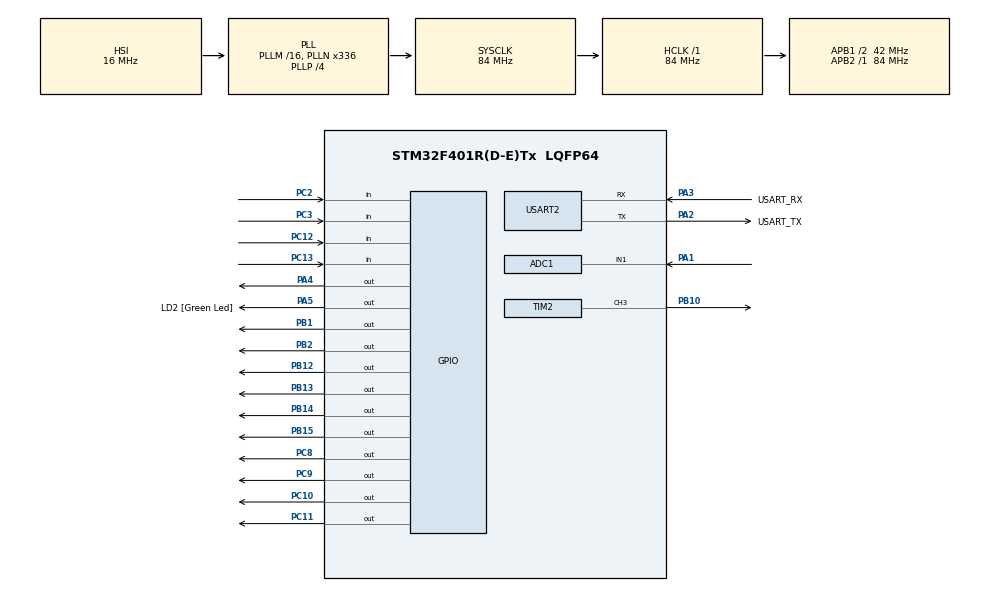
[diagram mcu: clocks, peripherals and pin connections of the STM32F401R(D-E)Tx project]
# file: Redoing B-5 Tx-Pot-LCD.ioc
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ADC1.Channel-0\#ChannelRegularConversion=ADC_CHANNEL_1
ADC1.ContinuousConvMode=DISABLE
ADC1.DMAContinuousRequests=DISABLE
ADC1.ExternalTrigConv=ADC_EXTERNALTRIGCONV_T3_TRGO
ADC1.NbrOfConversionFlag=1
ADC1.Rank-0\#ChannelRegularConversion=1
ADC1.SamplingTime-0\#ChannelRegularConversion=ADC_SAMPLETIME_480CYCLES
ADC1.master=1
Dma.ADC1.0.Direction=DMA_PERIPH_TO_MEMORY
Dma.ADC1.0.FIFOMode=DMA_FIFOMODE_DISABLE
Dma.ADC1.0.Instance=DMA2_Stream0
Dma.ADC1.0.MemDataAlignment=DMA_MDATAALIGN_HALFWORD
Dma.ADC1.0.MemInc=DMA_MINC_ENABLE
Dma.ADC1.0.Mode=DMA_NORMAL
Dma.ADC1.0.PeriphDataAlignment=DMA_PDATAALIGN_HALFWORD
Dma.ADC1.0.PeriphInc=DMA_PINC_DISABLE
Dma.ADC1.0.Priority=DMA_PRIORITY_LOW
Dma.Request0=ADC1
Mcu.Family=STM32F4
Mcu.Name=STM32F401R(D-E)Tx
Mcu.Package=LQFP64
NVIC.ADC_IRQn=true\:0\:0\:false\:false\:true\:true\:true\:true
NVIC.DMA2_Stream0_IRQn=true\:0\:0\:false\:false\:true\:false\:true\:true
NVIC.PriorityGroup=NVIC_PRIORITYGROUP_0
NVIC.TIM1_UP_TIM10_IRQn=true\:0\:0\:false\:false\:true\:true\:true\:true
NVIC.TIM2_IRQn=true\:0\:0\:false\:false\:true\:true\:true\:true
NVIC.TIM3_IRQn=true\:0\:0\:false\:false\:true\:true\:true\:true
PA1.Signal=ADCx_IN1
PA13.GPIO_Label=TMS
PA13.Mode=Serial_Wire
PA13.Signal=SYS_JTMS-SWDIO
PA14.GPIO_Label=TCK
PA14.Mode=Serial_Wire
PA14.Signal=SYS_JTCK-SWCLK
PA2.GPIO_Label=USART_TX
PA2.GPIO_Mode=GPIO_MODE_AF_PP
PA2.GPIO_PuPd=GPIO_NOPULL
PA2.GPIO_Speed=GPIO_SPEED_FREQ_LOW
PA2.Mode=Asynchronous
PA2.Signal=USART2_TX
PA3.GPIO_Label=USART_RX
PA3.GPIO_Mode=GPIO_MODE_AF_PP
PA3.GPIO_PuPd=GPIO_NOPULL
PA3.GPIO_Speed=GPIO_SPEED_FREQ_LOW
PA3.Mode=Asynchronous
PA3.Signal=USART2_RX
PA4.Signal=GPIO_Output
PA5.GPIO_Label=LD2 [Green Led]
PA5.GPIO_Mode=GPIO_MODE_OUTPUT_PP
PA5.GPIO_PuPd=GPIO_NOPULL
PA5.GPIO_Speed=GPIO_SPEED_FREQ_LOW
PA5.Signal=GPIO_Output
PB1.Signal=GPIO_Output
PB10.Signal=S_TIM2_CH3
PB12.Signal=GPIO_Output
PB13.Signal=GPIO_Output
PB14.Signal=GPIO_Output
PB15.Signal=GPIO_Output
PB2.Signal=GPIO_Output
PB3.GPIO_Label=SWO
PB3.Signal=SYS_JTDO-SWO
PC10.Signal=GPIO_Output
PC11.Signal=GPIO_Output
PC12.Signal=GPIO_Input
PC13-ANTI_TAMP.Signal=GPIO_Input
PC14-OSC32_IN.Mode=LSE-External-Oscillator
PC14-OSC32_IN.Signal=RCC_OSC32_IN
PC15-OSC32_OUT.Mode=LSE-External-Oscillator
PC15-OSC32_OUT.Signal=RCC_OSC32_OUT
PC2.Signal=GPIO_Input
PC3.Signal=GPIO_Input
PC8.Signal=GPIO_Output
PC9.Signal=GPIO_Output
PH0\ -\ OSC_IN.Mode=HSE-External-Clock-Source
PH0\ -\ OSC_IN.Signal=RCC_OSC_IN
PH1\ -\ OSC_OUT.Mode=HSE-External-Clock-Source
PH1\ -\ OSC_OUT.Signal=RCC_OSC_OUT
ProjectManager.HeapSize=0x200
ProjectManager.StackSize=0x400
ProjectManager.TargetToolchain=STM32CubeIDE
RCC.48MHZClocksFreq_Value=48000000
RCC.AHBFreq_Value=84000000
RCC.APB1CLKDivider=RCC_HCLK_DIV2
RCC.APB1Freq_Value=42000000
RCC.APB1TimFreq_Value=84000000
RCC.APB2Freq_Value=84000000
RCC.APB2TimFreq_Value=84000000
RCC.CortexFreq_Value=84000000
RCC.HCLKFreq_Value=84000000
RCC.HSE_VALUE=8000000
RCC.HSI_VALUE=16000000
RCC.PLLN=336
RCC.PLLP=RCC_PLLP_DIV4
RCC.PLLQ=7
RCC.SYSCLKFreq_VALUE=84000000
RCC.SYSCLKSource=RCC_SYSCLKSOURCE_PLLCLK
RCC.VCOOutputFreq_Value=336000000
SH.ADCx_IN1.0=ADC1_IN1,IN1
SH.S_TIM2_CH3.0=TIM2_CH3,PWM Generation3 CH3
TIM1.Period=499
TIM1.Prescaler=69
TIM2.Channel-PWM\ Generation3\ CH3=TIM_CHANNEL_3
TIM2.Period=60
TIM2.Prescaler=35
TIM2.Pulse-PWM\ Generation3\ CH3=30
TIM3.Period=10000-1
TIM3.Prescaler=8400-1
TIM3.TIM_MasterOutputTrigger=TIM_TRGO_UPDATE
USART2.VirtualMode=VM_ASYNC
VP_TIM1_VS_ClockSourceINT.Mode=Internal
VP_TIM2_VS_ClockSourceINT.Mode=Internal
VP_TIM3_VS_ClockSourceINT.Mode=Internal
board=NUCLEO-F401RE

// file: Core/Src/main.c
/* USER CODE BEGIN Header */
/**
 ******************************************************************************
 * @file           : main.c
 * @brief          : Main program body
 ******************************************************************************
 * @attention
 *
 * Copyright (c) 2023 STMicroelectronics.
 * All rights reserved.
 *
 * This software is licensed under terms that can be found in the LICENSE file
 * in the root directory of this software component.
 * If no LICENSE file comes with this software, it is provided AS-IS.
 *
 ******************************************************************************
 */
/* USER CODE END Header */
#include "main.h"

/* USER CODE BEGIN Includes */
#include <stdio.h>
#include <math.h>
#include "PMDB16_LCD.h"
/* USER CODE END Includes */

/* USER CODE BEGIN PD */

char aux_str[1024];
#define PRINT(s,...) \
		snprintf(aux_str, 1020, s, ##__VA_ARGS__ ); \
		HAL_UART_Transmit(&huart2, (uint8_t*)aux_str, strlen(aux_str), 100);

#define QUEUE_SIZE 100
#define N_ROWS_K 4
#define N_COLS_K 4
/* USER CODE END PD */

ADC_HandleTypeDef hadc1;
DMA_HandleTypeDef hdma_adc1;

TIM_HandleTypeDef htim1;
TIM_HandleTypeDef htim2;
TIM_HandleTypeDef htim3;

UART_HandleTypeDef huart2;

/* USER CODE BEGIN PV */
struct Queue {
	uint8_t items[QUEUE_SIZE];
	int front;
	int rear;
	int size;
} tx_queue;
int transmitting = 0;

const uint16_t k_input[] = { GPIO_PIN_3, GPIO_PIN_2, GPIO_PIN_13, GPIO_PIN_12 };
const uint16_t k_output[] = { GPIO_PIN_8, GPIO_PIN_9, GPIO_PIN_10, GPIO_PIN_11 };
/* USER CODE END PV */

void SystemClock_Config(void);
static void MX_GPIO_Init(void);
static void MX_DMA_Init(void);
static void MX_USART2_UART_Init(void);
static void MX_TIM2_Init(void);
static void MX_TIM3_Init(void);
static void MX_TIM1_Init(void);
static void MX_ADC1_Init(void);
/* USER CODE BEGIN PFP */
void init_queue(struct Queue* q);
int isFull(struct Queue *queue);
int isEmpty(struct Queue *queue);
int enqueue(struct Queue *queue, uint8_t item);
uint8_t dequeue(struct Queue *queue);
uint8_t* front(struct Queue *queue);
void transmit(uint8_t value);

/* USER CODE END PFP */

/* USER CODE BEGIN 0 */
uint8_t pot_val = 0;

void HAL_TIM_PeriodElapsedCallback(TIM_HandleTypeDef *htim) {
	if (htim == &htim1) {
		static int8_t bit_counter = -1; //bit that has to be transmitted
		static int8_t parity = 0; //parity bit memorization
		static int8_t tim_on = 0; //status of the timer
		static uint8_t data = 0; //byte to be sent
		uint8_t bit_tx; //bit to transmit

		if (bit_counter == -1) { //start bit
			data = dequeue(&tx_queue); //get the full byte to be sent
			bit_tx = 0; //transmit 0
		} else if (bit_counter < 7) { //7 bit of data transmission
			bit_tx = data & 0b00000001; //extract first bit
			data = data >> 1; //shift data for next transmission
			if (bit_tx)
				parity = !parity; //calculate parity (if a 1 is found switch parity)
		} else if (bit_counter == 7) { //partity bit transmission
			bit_tx = parity;
		} else if (bit_counter == 8) { //last transmission
			bit_tx = 1;
		}

		//transmission section
		if (bit_tx && tim_on) { //to transmit 1 turn off PWM
			HAL_TIM_PWM_Stop(&htim2, TIM_CHANNEL_3);
			tim_on = 0;

		} else if (!bit_tx && !tim_on) { //to transmit 0 turn on PWM
			HAL_TIM_PWM_Start(&htim2, TIM_CHANNEL_3);
			tim_on = 1;
		}

		if (bit_counter >= 8) { //reset variables for next transmission
			bit_counter = -1;
			parity = 0;
			if (isEmpty(&tx_queue)){ //if there is nothing more to transmit stop timer
				HAL_TIM_Base_Stop_IT(&htim1);
				transmitting = 0;
			}
			return;
		}

		bit_counter++;

	}
}

void HAL_ADC_ConvCpltCallback(ADC_HandleTypeDef *hadc){
	PRINT("Pot: %d", pot_val);
	lcd_println(aux_str, 0);
	lcd_drawBar(round((float)pot_val/255*80));
	transmit(pot_val);

	HAL_ADC_Start_DMA(&hadc1, &pot_val, 1);
}

//to transmit data simply set current data value and start the timer

/* USER CODE END 0 */

int main(void)
{
  /* USER CODE BEGIN 1 */
	init_queue(&tx_queue);
  /* USER CODE END 1 */

  /* MCU Configuration--------------------------------------------------------*/

  /* Reset of all peripherals, Initializes the Flash interface and the Systick. */
  HAL_Init();

  /* Configure the system clock */
  SystemClock_Config();

  /* Initialize all configured peripherals */
  MX_GPIO_Init();
  MX_DMA_Init();
  MX_USART2_UART_Init();
  MX_TIM2_Init();
  MX_TIM3_Init();
  MX_TIM1_Init();
  MX_ADC1_Init();
  /* USER CODE BEGIN 2 */
  lcd_initialize();
  lcd_backlight_ON();
  HAL_TIM_Base_Start_IT(&htim3);
  HAL_ADC_Start_DMA(&hadc1, &pot_val, 1);

  /* USER CODE END 2 */

  /* Infinite loop */
	while (1) {

	}
}

void SystemClock_Config(void)
{
  RCC_OscInitTypeDef RCC_OscInitStruct = {0};
  RCC_ClkInitTypeDef RCC_ClkInitStruct = {0};

  /** Configure the main internal regulator output voltage
  */
  __HAL_RCC_PWR_CLK_ENABLE();
  __HAL_PWR_VOLTAGESCALING_CONFIG(PWR_REGULATOR_VOLTAGE_SCALE2);

  /** Initializes the RCC Oscillators according to the specified parameters
  * in the RCC_OscInitTypeDef structure.
  */
  RCC_OscInitStruct.OscillatorType = RCC_OSCILLATORTYPE_HSI;
  RCC_OscInitStruct.HSIState = RCC_HSI_ON;
  RCC_OscInitStruct.HSICalibrationValue = RCC_HSICALIBRATION_DEFAULT;
  RCC_OscInitStruct.PLL.PLLState = RCC_PLL_ON;
  RCC_OscInitStruct.PLL.PLLSource = RCC_PLLSOURCE_HSI;
  RCC_OscInitStruct.PLL.PLLM = 16;
  RCC_OscInitStruct.PLL.PLLN = 336;
  RCC_OscInitStruct.PLL.PLLP = RCC_PLLP_DIV4;
  RCC_OscInitStruct.PLL.PLLQ = 7;
  if (HAL_RCC_OscConfig(&RCC_OscInitStruct) != HAL_OK)
  {
    Error_Handler();
  }

  /** Initializes the CPU, AHB and APB buses clocks
  */
  RCC_ClkInitStruct.ClockType = RCC_CLOCKTYPE_HCLK|RCC_CLOCKTYPE_SYSCLK
                              |RCC_CLOCKTYPE_PCLK1|RCC_CLOCKTYPE_PCLK2;
  RCC_ClkInitStruct.SYSCLKSource = RCC_SYSCLKSOURCE_PLLCLK;
  RCC_ClkInitStruct.AHBCLKDivider = RCC_SYSCLK_DIV1;
  RCC_ClkInitStruct.APB1CLKDivider = RCC_HCLK_DIV2;
  RCC_ClkInitStruct.APB2CLKDivider = RCC_HCLK_DIV1;

  if (HAL_RCC_ClockConfig(&RCC_ClkInitStruct, FLASH_LATENCY_2) != HAL_OK)
  {
    Error_Handler();
  }
}

static void MX_ADC1_Init(void)
{

  ADC_ChannelConfTypeDef sConfig = {0};

  /** Configure the global features of the ADC (Clock, Resolution, Data Alignment and number of conversion)
  */
  hadc1.Instance = ADC1;
  hadc1.Init.ClockPrescaler = ADC_CLOCK_SYNC_PCLK_DIV4;
  hadc1.Init.Resolution = ADC_RESOLUTION_12B;
  hadc1.Init.ScanConvMode = DISABLE;
  hadc1.Init.ContinuousConvMode = DISABLE;
  hadc1.Init.DiscontinuousConvMode = DISABLE;
  hadc1.Init.ExternalTrigConvEdge = ADC_EXTERNALTRIGCONVEDGE_RISING;
  hadc1.Init.ExternalTrigConv = ADC_EXTERNALTRIGCONV_T3_TRGO;
  hadc1.Init.DataAlign = ADC_DATAALIGN_RIGHT;
  hadc1.Init.NbrOfConversion = 1;
  hadc1.Init.DMAContinuousRequests = DISABLE;
  hadc1.Init.EOCSelection = ADC_EOC_SINGLE_CONV;
  if (HAL_ADC_Init(&hadc1) != HAL_OK)
  {
    Error_Handler();
  }

  /** Configure for the selected ADC regular channel its corresponding rank in the sequencer and its sample time.
  */
  sConfig.Channel = ADC_CHANNEL_1;
  sConfig.Rank = 1;
  sConfig.SamplingTime = ADC_SAMPLETIME_480CYCLES;
  if (HAL_ADC_ConfigChannel(&hadc1, &sConfig) != HAL_OK)
  {
    Error_Handler();
  }

}

static void MX_TIM1_Init(void)
{

  TIM_ClockConfigTypeDef sClockSourceConfig = {0};
  TIM_MasterConfigTypeDef sMasterConfig = {0};

  htim1.Instance = TIM1;
  htim1.Init.Prescaler = 69;
  htim1.Init.CounterMode = TIM_COUNTERMODE_UP;
  htim1.Init.Period = 499;
  htim1.Init.ClockDivision = TIM_CLOCKDIVISION_DIV1;
  htim1.Init.RepetitionCounter = 0;
  htim1.Init.AutoReloadPreload = TIM_AUTORELOAD_PRELOAD_DISABLE;
  if (HAL_TIM_Base_Init(&htim1) != HAL_OK)
  {
    Error_Handler();
  }
  sClockSourceConfig.ClockSource = TIM_CLOCKSOURCE_INTERNAL;
  if (HAL_TIM_ConfigClockSource(&htim1, &sClockSourceConfig) != HAL_OK)
  {
    Error_Handler();
  }
  sMasterConfig.MasterOutputTrigger = TIM_TRGO_RESET;
  sMasterConfig.MasterSlaveMode = TIM_MASTERSLAVEMODE_DISABLE;
  if (HAL_TIMEx_MasterConfigSynchronization(&htim1, &sMasterConfig) != HAL_OK)
  {
    Error_Handler();
  }

}

static void MX_TIM2_Init(void)
{

  TIM_ClockConfigTypeDef sClockSourceConfig = {0};
  TIM_MasterConfigTypeDef sMasterConfig = {0};
  TIM_OC_InitTypeDef sConfigOC = {0};

  htim2.Instance = TIM2;
  htim2.Init.Prescaler = 35;
  htim2.Init.CounterMode = TIM_COUNTERMODE_UP;
  htim2.Init.Period = 60;
  htim2.Init.ClockDivision = TIM_CLOCKDIVISION_DIV1;
  htim2.Init.AutoReloadPreload = TIM_AUTORELOAD_PRELOAD_DISABLE;
  if (HAL_TIM_Base_Init(&htim2) != HAL_OK)
  {
    Error_Handler();
  }
  sClockSourceConfig.ClockSource = TIM_CLOCKSOURCE_INTERNAL;
  if (HAL_TIM_ConfigClockSource(&htim2, &sClockSourceConfig) != HAL_OK)
  {
    Error_Handler();
  }
  if (HAL_TIM_PWM_Init(&htim2) != HAL_OK)
  {
    Error_Handler();
  }
  sMasterConfig.MasterOutputTrigger = TIM_TRGO_RESET;
  sMasterConfig.MasterSlaveMode = TIM_MASTERSLAVEMODE_DISABLE;
  if (HAL_TIMEx_MasterConfigSynchronization(&htim2, &sMasterConfig) != HAL_OK)
  {
    Error_Handler();
  }
  sConfigOC.OCMode = TIM_OCMODE_PWM1;
  sConfigOC.Pulse = 30;
  sConfigOC.OCPolarity = TIM_OCPOLARITY_HIGH;
  sConfigOC.OCFastMode = TIM_OCFAST_DISABLE;
  if (HAL_TIM_PWM_ConfigChannel(&htim2, &sConfigOC, TIM_CHANNEL_3) != HAL_OK)
  {
    Error_Handler();
  }
  HAL_TIM_MspPostInit(&htim2);

}

static void MX_TIM3_Init(void)
{

  TIM_ClockConfigTypeDef sClockSourceConfig = {0};
  TIM_MasterConfigTypeDef sMasterConfig = {0};

  htim3.Instance = TIM3;
  htim3.Init.Prescaler = 8400-1;
  htim3.Init.CounterMode = TIM_COUNTERMODE_UP;
  htim3.Init.Period = 10000-1;
  htim3.Init.ClockDivision = TIM_CLOCKDIVISION_DIV1;
  htim3.Init.AutoReloadPreload = TIM_AUTORELOAD_PRELOAD_DISABLE;
  if (HAL_TIM_Base_Init(&htim3) != HAL_OK)
  {
    Error_Handler();
  }
  sClockSourceConfig.ClockSource = TIM_CLOCKSOURCE_INTERNAL;
  if (HAL_TIM_ConfigClockSource(&htim3, &sClockSourceConfig) != HAL_OK)
  {
    Error_Handler();
  }
  sMasterConfig.MasterOutputTrigger = TIM_TRGO_UPDATE;
  sMasterConfig.MasterSlaveMode = TIM_MASTERSLAVEMODE_DISABLE;
  if (HAL_TIMEx_MasterConfigSynchronization(&htim3, &sMasterConfig) != HAL_OK)
  {
    Error_Handler();
  }

}

static void MX_USART2_UART_Init(void)
{

  huart2.Instance = USART2;
  huart2.Init.BaudRate = 115200;
  huart2.Init.WordLength = UART_WORDLENGTH_8B;
  huart2.Init.StopBits = UART_STOPBITS_1;
  huart2.Init.Parity = UART_PARITY_NONE;
  huart2.Init.Mode = UART_MODE_TX_RX;
  huart2.Init.HwFlowCtl = UART_HWCONTROL_NONE;
  huart2.Init.OverSampling = UART_OVERSAMPLING_16;
  if (HAL_UART_Init(&huart2) != HAL_OK)
  {
    Error_Handler();
  }

}

static void MX_DMA_Init(void)
{

  /* DMA controller clock enable */
  __HAL_RCC_DMA2_CLK_ENABLE();

  /* DMA interrupt init */
  /* DMA2_Stream0_IRQn interrupt configuration */
  HAL_NVIC_SetPriority(DMA2_Stream0_IRQn, 0, 0);
  HAL_NVIC_EnableIRQ(DMA2_Stream0_IRQn);

}

static void MX_GPIO_Init(void)
{
  GPIO_InitTypeDef GPIO_InitStruct = {0};

  /* GPIO Ports Clock Enable */
  __HAL_RCC_GPIOC_CLK_ENABLE();
  __HAL_RCC_GPIOH_CLK_ENABLE();
  __HAL_RCC_GPIOA_CLK_ENABLE();
  __HAL_RCC_GPIOB_CLK_ENABLE();

  /*Configure GPIO pin Output Level */
  HAL_GPIO_WritePin(GPIOA, GPIO_PIN_4|LD2_Pin, GPIO_PIN_RESET);

  /*Configure GPIO pin Output Level */
  HAL_GPIO_WritePin(GPIOB, GPIO_PIN_1|GPIO_PIN_2|GPIO_PIN_12|GPIO_PIN_13
                          |GPIO_PIN_14|GPIO_PIN_15, GPIO_PIN_RESET);

  /*Configure GPIO pin Output Level */
  HAL_GPIO_WritePin(GPIOC, GPIO_PIN_8|GPIO_PIN_9|GPIO_PIN_10|GPIO_PIN_11, GPIO_PIN_RESET);

  /*Configure GPIO pins : PC13 PC2 PC3 PC12 */
  GPIO_InitStruct.Pin = GPIO_PIN_13|GPIO_PIN_2|GPIO_PIN_3|GPIO_PIN_12;
  GPIO_InitStruct.Mode = GPIO_MODE_INPUT;
  GPIO_InitStruct.Pull = GPIO_NOPULL;
  HAL_GPIO_Init(GPIOC, &GPIO_InitStruct);

  /*Configure GPIO pins : PA4 LD2_Pin */
  GPIO_InitStruct.Pin = GPIO_PIN_4|LD2_Pin;
  GPIO_InitStruct.Mode = GPIO_MODE_OUTPUT_PP;
  GPIO_InitStruct.Pull = GPIO_NOPULL;
  GPIO_InitStruct.Speed = GPIO_SPEED_FREQ_LOW;
  HAL_GPIO_Init(GPIOA, &GPIO_InitStruct);

  /*Configure GPIO pins : PB1 PB2 PB12 PB13
                           PB14 PB15 */
  GPIO_InitStruct.Pin = GPIO_PIN_1|GPIO_PIN_2|GPIO_PIN_12|GPIO_PIN_13
                          |GPIO_PIN_14|GPIO_PIN_15;
  GPIO_InitStruct.Mode = GPIO_MODE_OUTPUT_PP;
  GPIO_InitStruct.Pull = GPIO_NOPULL;
  GPIO_InitStruct.Speed = GPIO_SPEED_FREQ_LOW;
  HAL_GPIO_Init(GPIOB, &GPIO_InitStruct);

  /*Configure GPIO pins : PC8 PC9 PC10 PC11 */
  GPIO_InitStruct.Pin = GPIO_PIN_8|GPIO_PIN_9|GPIO_PIN_10|GPIO_PIN_11;
  GPIO_InitStruct.Mode = GPIO_MODE_OUTPUT_PP;
  GPIO_InitStruct.Pull = GPIO_NOPULL;
  GPIO_InitStruct.Speed = GPIO_SPEED_FREQ_LOW;
  HAL_GPIO_Init(GPIOC, &GPIO_InitStruct);

}

/* USER CODE BEGIN 4 */
void init_queue(struct Queue* q){
	q->front = 0;
	q->rear = QUEUE_SIZE - 1;
	q->size = 0;
}
int isFull(struct Queue *queue) {
	return queue->size == QUEUE_SIZE;
}

int isEmpty(struct Queue *queue) {
	return (queue->size == 0);
}

int enqueue(struct Queue *queue, uint8_t item) {
	if (isFull(queue))
		return 0;
	queue->rear = (queue->rear + 1) % QUEUE_SIZE;
	queue->items[queue->rear] = item;
	queue->size = queue->size + 1;
	return 1;
}

uint8_t dequeue(struct Queue *queue) {
	if (isEmpty(queue))
		Error_Handler(); //if dequeue with empty queue return error!

	uint8_t item = queue->items[queue->front];
	queue->front = (queue->front + 1) % QUEUE_SIZE;
	queue->size = queue->size - 1;
	return item;
}

uint8_t* front(struct Queue* queue)
{
    if (isEmpty(queue)) Error_Handler();
    return &(queue->items[queue->front]);
}

void transmit(uint8_t value) {
	enqueue(&tx_queue, value);
	if(!transmitting){
		HAL_TIM_Base_Start_IT(&htim1);
		transmitting = 1;
	}
}
/* USER CODE END 4 */

void Error_Handler(void)
{
	__disable_irq();
	while (1) {
	}
}
